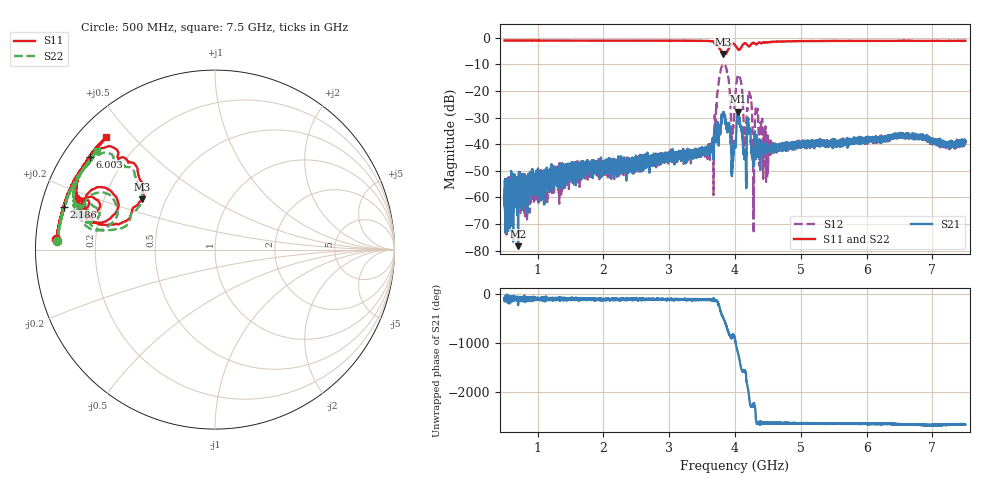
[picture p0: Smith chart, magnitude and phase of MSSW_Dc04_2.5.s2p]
!Keysight Technologies,M9374A,MY55442783,A.12.55.05
!Date: Wednesday, May 19, 2021 16:51:34
!Correction: S11(Full 2 Port(1,2))
!S21(Full 2 Port(1,2))
!S12(Full 2 Port(1,2))
!S22(Full 2 Port(1,2))
!S2P File: Measurements: S11, S21, S12, S22:
# Hz S  RI  R 50
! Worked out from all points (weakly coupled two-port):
!   7001 points, 500 MHz to 7.5 GHz, reference 50 ohm
!   highest |S21| = -27.75 dB at 4.047 GHz (marker M1); lowest = -78.3 dB at 705 MHz (marker M2)
!   lowest |S11| = -6.1 dB at 3.82 GHz (marker M3), VSWR 2.95, Z = 18.4 + j13.7 ohm
!   |S11| at or under -10 dB: nowhere
!   |S22| runs from -6.3 to -1.1 dB; largest |S21 - S12| = 0.28
!   S11 on the Smith chart (normalised r, x): 500 MHz: 0.06, +0.03; 2.186 GHz: 0.07, +0.14; 6.003 GHz: 0.08, +0.33; 7.5 GHz: 0.08, +0.42
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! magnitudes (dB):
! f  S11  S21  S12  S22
! 500 MHz  -1.1  -60.1  -56.7  -1.1
! 705 MHz  -1.1  -78.3  -53.7  -1.1
! 1.667 GHz  -1.1  -51.9  -47.1  -1.2
! 2.186 GHz  -1.1  -50.2  -47.0  -1.2
! 2.834 GHz  -1.1  -44.6  -43.8  -1.2
! 3.643 GHz  -1.4  -42.5  -40.7  -1.4
! 3.758 GHz  -3.7  -34.8  -15.8  -3.8
! 3.82 GHz  -6.1  -29.5  -10.3  -6.2
! 3.888 GHz  -4.9  -33.6  -13.3  -5.0
! 3.956 GHz  -2.3  -47.9  -36.2  -2.3
! 4 GHz  -2.8  -39.9  -23.1  -2.9
! 4.047 GHz  -4.5  -27.7  -14.1  -4.6
! 4.088 GHz  -3.9  -33.6  -16.2  -4.0
! 4.153 GHz  -2.1  -42.1  -38.5  -2.1
! 4.227 GHz  -3.1  -34.4  -21.6  -3.2
! 4.291 GHz  -2.0  -38.9  -47.5  -2.1
! 4.328 GHz  -2.5  -37.5  -28.1  -2.6
! 4.502 GHz  -1.7  -42.4  -48.8  -1.7
! 5.167 GHz  -1.3  -39.7  -40.4  -1.3
! 6.003 GHz  -1.2  -37.8  -38.3  -1.3
! 6.334 GHz  -1.2  -37.5  -37.6  -1.3
! 7.5 GHz  -1.2  -38.8  -39.7  -1.3
